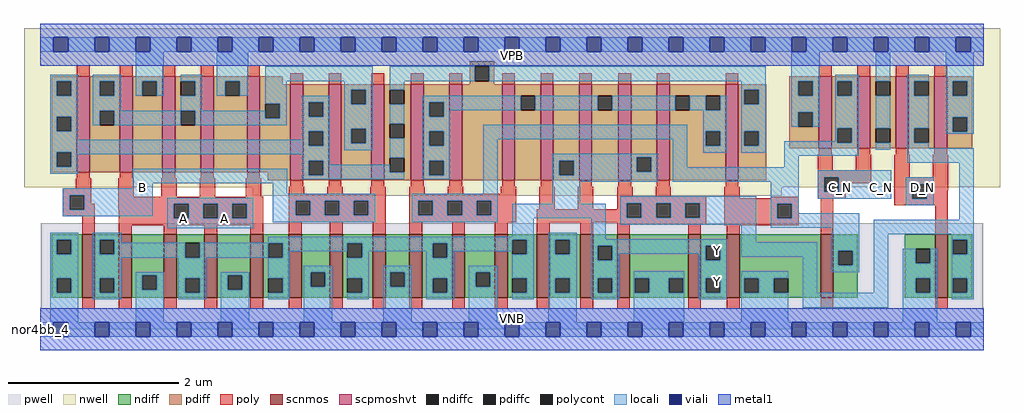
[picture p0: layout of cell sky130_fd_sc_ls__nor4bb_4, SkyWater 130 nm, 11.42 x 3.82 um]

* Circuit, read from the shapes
.subckt sky130_fd_sc_ls__nor4bb_4 A B C_N D_N VGND VNB VPB VPWR Y
XM1 Y B VGND VNB sky130_fd_pr__nfet_01v8 w=0.74 l=0.15 m=4
XM2 VGND A Y VNB sky130_fd_pr__nfet_01v8 w=0.74 l=0.15 m=4
XM3 Y n1 VGND VNB sky130_fd_pr__nfet_01v8 w=0.74 l=0.15 m=4
XM4 VGND n2 Y VNB sky130_fd_pr__nfet_01v8 w=0.74 l=0.15 m=4
XM5 n1 C_N VGND VNB sky130_fd_pr__nfet_01v8 w=0.74 l=0.15
XM6 n2 D_N VGND VNB sky130_fd_pr__nfet_01v8 w=0.74 l=0.15
XM7 n3 B n4 VPB sky130_fd_pr__pfet_01v8_hvt w=1.12 l=0.15 m=4
XM8 VPWR A n3 VPB sky130_fd_pr__pfet_01v8_hvt w=1.12 l=0.15 m=4
XM9 n5 n1 n4 VPB sky130_fd_pr__pfet_01v8_hvt w=1.12 l=0.15 m=4
XM10 Y n2 n5 VPB sky130_fd_pr__pfet_01v8_hvt w=1.12 l=0.15 m=4
XM11 n1 C_N VPWR VPB sky130_fd_pr__pfet_01v8_hvt w=0.84 l=0.15 m=2
XM12 n2 D_N VPWR VPB sky130_fd_pr__pfet_01v8_hvt w=0.84 l=0.15 m=2
.ends

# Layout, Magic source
magic
tech sky130A
magscale 1 2
<< nwell >>
rect -38 332 2246 704
rect 496 313 1735 332
<< pwell >>
rect 1 49 2207 248
rect 0 0 2208 49
<< scnmos >>
rect 98 74 128 222
rect 184 74 214 222
rect 289 74 319 222
rect 384 74 414 222
rect 492 74 522 222
rect 582 74 612 222
rect 678 74 708 222
rect 778 74 808 222
rect 864 74 894 222
rect 964 74 994 222
rect 1064 74 1094 222
rect 1162 74 1192 222
rect 1264 74 1294 222
rect 1350 74 1380 222
rect 1516 74 1546 222
rect 1607 74 1637 222
rect 1826 74 1856 222
rect 2094 74 2124 222
<< scpmoshvt >>
rect 86 368 116 592
rect 186 368 216 592
rect 286 368 316 592
rect 376 368 406 592
rect 484 368 514 592
rect 585 349 615 573
rect 675 349 705 573
rect 775 349 805 573
rect 867 349 897 573
rect 957 349 987 573
rect 1081 349 1111 573
rect 1171 349 1201 573
rect 1261 349 1291 573
rect 1353 349 1383 573
rect 1443 349 1473 573
rect 1604 349 1634 573
rect 1822 424 1852 592
rect 1912 424 1942 592
rect 2002 424 2032 592
rect 2092 424 2122 592
<< ndiff >>
rect 27 210 98 222
rect 27 176 39 210
rect 73 176 98 210
rect 27 120 98 176
rect 27 86 39 120
rect 73 86 98 120
rect 27 74 98 86
rect 128 210 184 222
rect 128 176 139 210
rect 173 176 184 210
rect 128 120 184 176
rect 128 86 139 120
rect 173 86 184 120
rect 128 74 184 86
rect 214 127 289 222
rect 214 93 239 127
rect 273 93 289 127
rect 214 74 289 93
rect 319 202 384 222
rect 319 168 339 202
rect 373 168 384 202
rect 319 120 384 168
rect 319 86 339 120
rect 373 86 384 120
rect 319 74 384 86
rect 414 127 492 222
rect 414 93 439 127
rect 473 93 492 127
rect 414 74 492 93
rect 522 201 582 222
rect 522 167 533 201
rect 567 167 582 201
rect 522 120 582 167
rect 522 86 533 120
rect 567 86 582 120
rect 522 74 582 86
rect 612 133 678 222
rect 612 99 633 133
rect 667 99 678 133
rect 612 74 678 99
rect 708 201 778 222
rect 708 167 719 201
rect 753 167 778 201
rect 708 120 778 167
rect 708 86 719 120
rect 753 86 778 120
rect 708 74 778 86
rect 808 133 864 222
rect 808 99 819 133
rect 853 99 864 133
rect 808 74 864 99
rect 894 201 964 222
rect 894 167 919 201
rect 953 167 964 201
rect 894 120 964 167
rect 894 86 919 120
rect 953 86 964 120
rect 894 74 964 86
rect 994 133 1064 222
rect 994 99 1019 133
rect 1053 99 1064 133
rect 994 74 1064 99
rect 1094 210 1162 222
rect 1094 176 1105 210
rect 1139 176 1162 210
rect 1094 120 1162 176
rect 1094 86 1105 120
rect 1139 86 1162 120
rect 1094 74 1162 86
rect 1192 210 1264 222
rect 1192 176 1205 210
rect 1239 176 1264 210
rect 1192 120 1264 176
rect 1192 86 1205 120
rect 1239 86 1264 120
rect 1192 74 1264 86
rect 1294 195 1350 222
rect 1294 161 1305 195
rect 1339 161 1350 195
rect 1294 120 1350 161
rect 1294 86 1305 120
rect 1339 86 1350 120
rect 1294 74 1350 86
rect 1380 120 1516 222
rect 1380 86 1391 120
rect 1425 86 1471 120
rect 1505 86 1516 120
rect 1380 74 1516 86
rect 1546 195 1607 222
rect 1546 161 1557 195
rect 1591 161 1607 195
rect 1546 120 1607 161
rect 1546 86 1557 120
rect 1591 86 1607 120
rect 1546 74 1607 86
rect 1637 120 1826 222
rect 1637 86 1648 120
rect 1682 86 1716 120
rect 1750 86 1826 120
rect 1637 74 1826 86
rect 1856 184 1913 222
rect 1856 150 1867 184
rect 1901 150 1913 184
rect 1856 74 1913 150
rect 2023 188 2094 222
rect 2023 154 2049 188
rect 2083 154 2094 188
rect 2023 120 2094 154
rect 2023 86 2049 120
rect 2083 86 2094 120
rect 2023 74 2094 86
rect 2124 210 2181 222
rect 2124 176 2135 210
rect 2169 176 2181 210
rect 2124 120 2181 176
rect 2124 86 2135 120
rect 2169 86 2181 120
rect 2124 74 2181 86
<< pdiff >>
rect 1005 615 1063 627
rect 27 580 86 592
rect 27 546 39 580
rect 73 546 86 580
rect 27 497 86 546
rect 27 463 39 497
rect 73 463 86 497
rect 27 414 86 463
rect 27 380 39 414
rect 73 380 86 414
rect 27 368 86 380
rect 116 580 186 592
rect 116 546 139 580
rect 173 546 186 580
rect 116 512 186 546
rect 116 478 139 512
rect 173 478 186 512
rect 116 368 186 478
rect 216 580 286 592
rect 216 546 239 580
rect 273 546 286 580
rect 216 368 286 546
rect 316 580 376 592
rect 316 546 329 580
rect 363 546 376 580
rect 316 512 376 546
rect 316 478 329 512
rect 363 478 376 512
rect 316 368 376 478
rect 406 580 484 592
rect 406 546 433 580
rect 467 546 484 580
rect 406 368 484 546
rect 514 573 567 592
rect 1005 581 1017 615
rect 1051 581 1063 615
rect 1005 573 1063 581
rect 1753 580 1822 592
rect 514 528 585 573
rect 514 494 527 528
rect 561 494 585 528
rect 514 368 585 494
rect 532 349 585 368
rect 615 531 675 573
rect 615 497 628 531
rect 662 497 675 531
rect 615 463 675 497
rect 615 429 628 463
rect 662 429 675 463
rect 615 395 675 429
rect 615 361 628 395
rect 662 361 675 395
rect 615 349 675 361
rect 705 561 775 573
rect 705 527 728 561
rect 762 527 775 561
rect 705 469 775 527
rect 705 435 728 469
rect 762 435 775 469
rect 705 349 775 435
rect 805 561 867 573
rect 805 527 818 561
rect 852 527 867 561
rect 805 481 867 527
rect 805 447 818 481
rect 852 447 867 481
rect 805 401 867 447
rect 805 367 818 401
rect 852 367 867 401
rect 805 349 867 367
rect 897 531 957 573
rect 897 497 910 531
rect 944 497 957 531
rect 897 463 957 497
rect 897 429 910 463
rect 944 429 957 463
rect 897 395 957 429
rect 897 361 910 395
rect 944 361 957 395
rect 897 349 957 361
rect 987 349 1081 573
rect 1111 547 1171 573
rect 1111 513 1124 547
rect 1158 513 1171 547
rect 1111 349 1171 513
rect 1201 395 1261 573
rect 1201 361 1214 395
rect 1248 361 1261 395
rect 1201 349 1261 361
rect 1291 547 1353 573
rect 1291 513 1305 547
rect 1339 513 1353 547
rect 1291 349 1353 513
rect 1383 403 1443 573
rect 1383 369 1396 403
rect 1430 369 1443 403
rect 1383 349 1443 369
rect 1473 547 1604 573
rect 1473 513 1486 547
rect 1520 513 1557 547
rect 1591 513 1604 547
rect 1473 463 1604 513
rect 1473 429 1557 463
rect 1591 429 1604 463
rect 1473 349 1604 429
rect 1634 561 1699 573
rect 1634 527 1648 561
rect 1682 527 1699 561
rect 1634 463 1699 527
rect 1634 429 1648 463
rect 1682 429 1699 463
rect 1634 349 1699 429
rect 1753 546 1774 580
rect 1808 546 1822 580
rect 1753 508 1822 546
rect 1753 474 1774 508
rect 1808 474 1822 508
rect 1753 424 1822 474
rect 1852 580 1912 592
rect 1852 546 1865 580
rect 1899 546 1912 580
rect 1852 470 1912 546
rect 1852 436 1865 470
rect 1899 436 1912 470
rect 1852 424 1912 436
rect 1942 580 2002 592
rect 1942 546 1955 580
rect 1989 546 2002 580
rect 1942 470 2002 546
rect 1942 436 1955 470
rect 1989 436 2002 470
rect 1942 424 2002 436
rect 2032 580 2092 592
rect 2032 546 2045 580
rect 2079 546 2092 580
rect 2032 470 2092 546
rect 2032 436 2045 470
rect 2079 436 2092 470
rect 2032 424 2092 436
rect 2122 580 2181 592
rect 2122 546 2135 580
rect 2169 546 2181 580
rect 2122 496 2181 546
rect 2122 462 2135 496
rect 2169 462 2181 496
rect 2122 424 2181 462
<< ndiffc >>
rect 39 176 73 210
rect 39 86 73 120
rect 139 176 173 210
rect 139 86 173 120
rect 239 93 273 127
rect 339 168 373 202
rect 339 86 373 120
rect 439 93 473 127
rect 533 167 567 201
rect 533 86 567 120
rect 633 99 667 133
rect 719 167 753 201
rect 719 86 753 120
rect 819 99 853 133
rect 919 167 953 201
rect 919 86 953 120
rect 1019 99 1053 133
rect 1105 176 1139 210
rect 1105 86 1139 120
rect 1205 176 1239 210
rect 1205 86 1239 120
rect 1305 161 1339 195
rect 1305 86 1339 120
rect 1391 86 1425 120
rect 1471 86 1505 120
rect 1557 161 1591 195
rect 1557 86 1591 120
rect 1648 86 1682 120
rect 1716 86 1750 120
rect 1867 150 1901 184
rect 2049 154 2083 188
rect 2049 86 2083 120
rect 2135 176 2169 210
rect 2135 86 2169 120
<< pdiffc >>
rect 39 546 73 580
rect 39 463 73 497
rect 39 380 73 414
rect 139 546 173 580
rect 139 478 173 512
rect 239 546 273 580
rect 329 546 363 580
rect 329 478 363 512
rect 433 546 467 580
rect 1017 581 1051 615
rect 527 494 561 528
rect 628 497 662 531
rect 628 429 662 463
rect 628 361 662 395
rect 728 527 762 561
rect 728 435 762 469
rect 818 527 852 561
rect 818 447 852 481
rect 818 367 852 401
rect 910 497 944 531
rect 910 429 944 463
rect 910 361 944 395
rect 1124 513 1158 547
rect 1214 361 1248 395
rect 1305 513 1339 547
rect 1396 369 1430 403
rect 1486 513 1520 547
rect 1557 513 1591 547
rect 1557 429 1591 463
rect 1648 527 1682 561
rect 1648 429 1682 463
rect 1774 546 1808 580
rect 1774 474 1808 508
rect 1865 546 1899 580
rect 1865 436 1899 470
rect 1955 546 1989 580
rect 1955 436 1989 470
rect 2045 546 2079 580
rect 2045 436 2079 470
rect 2135 546 2169 580
rect 2135 462 2169 496
<< poly >>
rect 86 592 116 618
rect 186 592 216 618
rect 286 592 316 618
rect 376 592 406 618
rect 484 592 514 618
rect 585 573 615 599
rect 675 573 705 599
rect 775 573 805 599
rect 867 573 897 599
rect 957 573 987 599
rect 1081 573 1111 599
rect 1171 573 1201 599
rect 1261 573 1291 599
rect 1353 573 1383 599
rect 1443 573 1473 599
rect 1604 573 1634 599
rect 1822 592 1852 618
rect 1912 592 1942 618
rect 2002 592 2032 618
rect 2092 592 2122 618
rect 86 353 116 368
rect 186 353 216 368
rect 286 353 316 368
rect 376 353 406 368
rect 484 353 514 368
rect 83 330 119 353
rect 53 314 119 330
rect 53 280 69 314
rect 103 294 119 314
rect 183 310 219 353
rect 283 310 319 353
rect 373 310 409 353
rect 481 310 517 353
rect 1822 409 1852 424
rect 1912 409 1942 424
rect 2002 409 2032 424
rect 2092 409 2122 424
rect 1819 372 1855 409
rect 1909 372 1945 409
rect 1819 356 1945 372
rect 585 334 615 349
rect 675 334 705 349
rect 775 334 805 349
rect 867 334 897 349
rect 957 334 987 349
rect 1081 334 1111 349
rect 1171 334 1201 349
rect 1261 334 1291 349
rect 1353 334 1383 349
rect 1443 334 1473 349
rect 1604 334 1634 349
rect 582 317 618 334
rect 672 317 708 334
rect 772 317 808 334
rect 183 294 522 310
rect 103 280 128 294
rect 183 280 313 294
rect 53 264 128 280
rect 98 222 128 264
rect 184 260 313 280
rect 347 260 381 294
rect 415 260 449 294
rect 483 260 522 294
rect 184 244 522 260
rect 184 222 214 244
rect 289 222 319 244
rect 384 222 414 244
rect 492 222 522 244
rect 582 301 808 317
rect 582 267 598 301
rect 632 267 666 301
rect 700 267 734 301
rect 768 267 808 301
rect 582 251 808 267
rect 582 222 612 251
rect 678 222 708 251
rect 778 222 808 251
rect 864 317 900 334
rect 954 317 990 334
rect 1078 317 1114 334
rect 864 301 1114 317
rect 864 267 885 301
rect 919 267 953 301
rect 987 267 1021 301
rect 1055 267 1114 301
rect 1168 281 1204 334
rect 1258 281 1294 334
rect 1350 311 1386 334
rect 1440 311 1476 334
rect 1350 295 1559 311
rect 1350 281 1373 295
rect 864 251 1114 267
rect 1162 261 1373 281
rect 1407 261 1441 295
rect 1475 261 1509 295
rect 1543 261 1559 295
rect 1162 251 1559 261
rect 864 222 894 251
rect 964 222 994 251
rect 1064 222 1094 251
rect 1162 222 1192 251
rect 1264 222 1294 251
rect 1350 245 1559 251
rect 1601 307 1637 334
rect 1819 322 1835 356
rect 1869 342 1945 356
rect 1999 356 2035 409
rect 2089 356 2125 409
rect 1869 322 1885 342
rect 1709 307 1775 310
rect 1601 294 1775 307
rect 1819 306 1885 322
rect 1999 340 2125 356
rect 1999 306 2041 340
rect 2075 326 2125 340
rect 2075 306 2124 326
rect 1601 260 1725 294
rect 1759 260 1775 294
rect 1350 222 1380 245
rect 1516 222 1546 245
rect 1601 244 1775 260
rect 1607 222 1637 244
rect 1826 222 1856 306
rect 1999 290 2124 306
rect 2094 222 2124 290
rect 98 48 128 74
rect 184 48 214 74
rect 289 48 319 74
rect 384 48 414 74
rect 492 48 522 74
rect 582 48 612 74
rect 678 48 708 74
rect 778 48 808 74
rect 864 48 894 74
rect 964 48 994 74
rect 1064 48 1094 74
rect 1162 48 1192 74
rect 1264 48 1294 74
rect 1350 48 1380 74
rect 1516 48 1546 74
rect 1607 48 1637 74
rect 1826 48 1856 74
rect 2094 48 2124 74
<< polycont >>
rect 69 280 103 314
rect 313 260 347 294
rect 381 260 415 294
rect 449 260 483 294
rect 598 267 632 301
rect 666 267 700 301
rect 734 267 768 301
rect 885 267 919 301
rect 953 267 987 301
rect 1021 267 1055 301
rect 1373 261 1407 295
rect 1441 261 1475 295
rect 1509 261 1543 295
rect 1835 322 1869 356
rect 2041 306 2075 340
rect 1725 260 1759 294
<< locali >>
rect 0 649 31 683
rect 65 649 127 683
rect 161 649 223 683
rect 257 649 319 683
rect 353 649 415 683
rect 449 649 511 683
rect 545 649 607 683
rect 641 649 703 683
rect 737 649 799 683
rect 833 649 895 683
rect 929 649 991 683
rect 1025 649 1087 683
rect 1121 649 1183 683
rect 1217 649 1279 683
rect 1313 649 1375 683
rect 1409 649 1471 683
rect 1505 649 1567 683
rect 1601 649 1663 683
rect 1697 649 1759 683
rect 1793 649 1855 683
rect 1889 649 1951 683
rect 1985 649 2047 683
rect 2081 649 2143 683
rect 2177 649 2208 683
rect 23 580 89 596
rect 23 546 39 580
rect 73 546 89 580
rect 23 497 89 546
rect 23 463 39 497
rect 73 463 89 497
rect 123 580 189 596
rect 123 546 139 580
rect 173 546 189 580
rect 223 580 289 649
rect 223 546 239 580
rect 273 546 289 580
rect 329 580 379 596
rect 363 546 379 580
rect 413 580 487 649
rect 413 546 433 580
rect 467 546 487 580
rect 527 581 778 615
rect 123 512 189 546
rect 329 512 379 546
rect 527 528 577 581
rect 712 561 778 581
rect 123 478 139 512
rect 173 478 329 512
rect 363 494 527 512
rect 561 494 577 528
rect 363 478 577 494
rect 612 531 678 547
rect 612 497 628 531
rect 662 497 678 531
rect 23 444 89 463
rect 612 463 678 497
rect 612 444 628 463
rect 23 429 628 444
rect 662 429 678 463
rect 23 414 678 429
rect 712 527 728 561
rect 762 527 778 561
rect 712 469 778 527
rect 712 435 728 469
rect 762 435 778 469
rect 712 419 778 435
rect 818 581 1017 615
rect 1051 581 1698 615
rect 818 561 852 581
rect 1641 561 1698 581
rect 818 481 852 527
rect 23 380 39 414
rect 73 410 678 414
rect 73 380 89 410
rect 23 364 89 380
rect 612 395 678 410
rect 217 342 578 376
rect 612 361 628 395
rect 662 385 678 395
rect 818 401 852 447
rect 662 367 818 385
rect 662 361 852 367
rect 612 351 852 361
rect 894 531 1124 547
rect 894 497 910 531
rect 944 513 1124 531
rect 1158 513 1305 547
rect 1339 513 1486 547
rect 1520 513 1557 547
rect 1591 513 1607 547
rect 944 497 960 513
rect 894 463 960 497
rect 894 429 910 463
rect 944 429 960 463
rect 894 395 960 429
rect 894 361 910 395
rect 944 361 960 395
rect 894 351 960 361
rect 1037 445 1514 479
rect 217 330 263 342
rect 53 314 263 330
rect 53 280 69 314
rect 103 280 263 314
rect 544 317 578 342
rect 1037 317 1071 445
rect 53 264 263 280
rect 297 294 499 308
rect 297 260 313 294
rect 347 260 381 294
rect 415 260 449 294
rect 483 260 499 294
rect 297 236 499 260
rect 544 301 784 317
rect 544 267 598 301
rect 632 267 666 301
rect 700 267 734 301
rect 768 267 784 301
rect 544 251 784 267
rect 869 301 1071 317
rect 869 267 885 301
rect 919 267 953 301
rect 987 267 1021 301
rect 1055 267 1071 301
rect 1198 403 1446 411
rect 1198 395 1396 403
rect 1198 361 1214 395
rect 1248 369 1396 395
rect 1430 369 1446 403
rect 1248 361 1446 369
rect 1198 345 1446 361
rect 1480 379 1514 445
rect 1552 463 1607 513
rect 1552 429 1557 463
rect 1591 429 1607 463
rect 1552 413 1607 429
rect 1641 527 1648 561
rect 1682 527 1698 561
rect 1641 463 1698 527
rect 1758 580 1824 649
rect 1758 546 1774 580
rect 1808 546 1824 580
rect 1758 508 1824 546
rect 1758 474 1774 508
rect 1808 474 1824 508
rect 1860 580 1915 596
rect 1860 546 1865 580
rect 1899 546 1915 580
rect 1641 429 1648 463
rect 1682 429 1698 463
rect 1860 470 1915 546
rect 1860 440 1865 470
rect 1641 413 1698 429
rect 1741 436 1865 440
rect 1899 436 1915 470
rect 1741 406 1915 436
rect 1955 580 1989 649
rect 1955 470 1989 546
rect 1955 420 1989 436
rect 2029 580 2079 596
rect 2029 546 2045 580
rect 2029 470 2079 546
rect 2029 436 2045 470
rect 2119 580 2185 649
rect 2119 546 2135 580
rect 2169 546 2185 580
rect 2119 496 2185 546
rect 2119 462 2135 496
rect 2169 462 2185 496
rect 2119 458 2185 462
rect 2029 424 2079 436
rect 1741 379 1775 406
rect 2029 390 2185 424
rect 1480 345 1775 379
rect 1198 294 1264 345
rect 1357 295 1675 311
rect 869 251 1071 267
rect 1105 260 1323 294
rect 23 210 89 226
rect 23 176 39 210
rect 73 176 89 210
rect 23 120 89 176
rect 23 86 39 120
rect 73 86 89 120
rect 23 17 89 86
rect 123 210 189 226
rect 1105 217 1155 260
rect 123 176 139 210
rect 173 202 189 210
rect 533 210 1155 217
rect 533 202 1105 210
rect 173 176 339 202
rect 123 168 339 176
rect 373 201 1105 202
rect 373 168 533 201
rect 123 120 189 168
rect 123 86 139 120
rect 173 86 189 120
rect 123 70 189 86
rect 223 127 289 134
rect 223 93 239 127
rect 273 93 289 127
rect 223 17 289 93
rect 323 120 389 168
rect 567 183 719 201
rect 567 167 583 183
rect 323 86 339 120
rect 373 86 389 120
rect 323 70 389 86
rect 423 127 489 134
rect 423 93 439 127
rect 473 93 489 127
rect 423 17 489 93
rect 533 120 583 167
rect 753 183 919 201
rect 753 167 769 183
rect 567 86 583 120
rect 533 70 583 86
rect 617 133 683 149
rect 617 99 633 133
rect 667 99 683 133
rect 617 17 683 99
rect 719 120 769 167
rect 903 167 919 183
rect 953 183 1105 201
rect 953 167 969 183
rect 753 86 769 120
rect 719 70 769 86
rect 803 133 869 149
rect 803 99 819 133
rect 853 99 869 133
rect 803 17 869 99
rect 903 120 969 167
rect 1139 176 1155 210
rect 903 86 919 120
rect 953 86 969 120
rect 903 70 969 86
rect 1003 133 1069 149
rect 1003 99 1019 133
rect 1053 99 1069 133
rect 1003 17 1069 99
rect 1105 120 1155 176
rect 1139 86 1155 120
rect 1105 70 1155 86
rect 1189 210 1255 226
rect 1189 176 1205 210
rect 1239 176 1255 210
rect 1189 120 1255 176
rect 1189 86 1205 120
rect 1239 86 1255 120
rect 1189 17 1255 86
rect 1289 211 1323 260
rect 1357 261 1373 295
rect 1407 261 1441 295
rect 1475 261 1509 295
rect 1543 261 1675 295
rect 1357 245 1675 261
rect 1289 195 1607 211
rect 1289 161 1305 195
rect 1339 177 1557 195
rect 1339 161 1355 177
rect 1289 120 1355 161
rect 1541 161 1557 177
rect 1591 161 1607 195
rect 1641 204 1675 245
rect 1709 294 1775 345
rect 1819 356 1991 372
rect 1819 322 1835 356
rect 1869 322 1991 356
rect 1819 306 1991 322
rect 2025 340 2091 356
rect 2025 306 2041 340
rect 2075 306 2091 340
rect 1709 260 1725 294
rect 1759 272 1775 294
rect 2025 290 2091 306
rect 1759 260 1917 272
rect 1709 238 1917 260
rect 2151 256 2185 390
rect 1641 170 1818 204
rect 1289 86 1305 120
rect 1339 86 1355 120
rect 1289 70 1355 86
rect 1389 120 1507 136
rect 1389 86 1391 120
rect 1425 86 1471 120
rect 1505 86 1507 120
rect 1389 17 1507 86
rect 1541 120 1607 161
rect 1541 86 1557 120
rect 1591 86 1607 120
rect 1541 70 1607 86
rect 1641 120 1750 136
rect 1641 86 1648 120
rect 1682 86 1716 120
rect 1641 17 1750 86
rect 1784 85 1818 170
rect 1852 184 1917 238
rect 1852 150 1867 184
rect 1901 150 1917 184
rect 1852 134 1917 150
rect 1951 222 2185 256
rect 1951 85 1985 222
rect 2133 210 2185 222
rect 1784 51 1985 85
rect 2019 154 2049 188
rect 2083 154 2099 188
rect 2019 120 2099 154
rect 2019 86 2049 120
rect 2083 86 2099 120
rect 2019 17 2099 86
rect 2133 176 2135 210
rect 2169 176 2185 210
rect 2133 120 2185 176
rect 2133 86 2135 120
rect 2169 86 2185 120
rect 2133 70 2185 86
rect 0 -17 31 17
rect 65 -17 127 17
rect 161 -17 223 17
rect 257 -17 319 17
rect 353 -17 415 17
rect 449 -17 511 17
rect 545 -17 607 17
rect 641 -17 703 17
rect 737 -17 799 17
rect 833 -17 895 17
rect 929 -17 991 17
rect 1025 -17 1087 17
rect 1121 -17 1183 17
rect 1217 -17 1279 17
rect 1313 -17 1375 17
rect 1409 -17 1471 17
rect 1505 -17 1567 17
rect 1601 -17 1663 17
rect 1697 -17 1759 17
rect 1793 -17 1855 17
rect 1889 -17 1951 17
rect 1985 -17 2047 17
rect 2081 -17 2143 17
rect 2177 -17 2208 17
<< viali >>
rect 31 649 65 683
rect 127 649 161 683
rect 223 649 257 683
rect 319 649 353 683
rect 415 649 449 683
rect 511 649 545 683
rect 607 649 641 683
rect 703 649 737 683
rect 799 649 833 683
rect 895 649 929 683
rect 991 649 1025 683
rect 1087 649 1121 683
rect 1183 649 1217 683
rect 1279 649 1313 683
rect 1375 649 1409 683
rect 1471 649 1505 683
rect 1567 649 1601 683
rect 1663 649 1697 683
rect 1759 649 1793 683
rect 1855 649 1889 683
rect 1951 649 1985 683
rect 2047 649 2081 683
rect 2143 649 2177 683
rect 31 -17 65 17
rect 127 -17 161 17
rect 223 -17 257 17
rect 319 -17 353 17
rect 415 -17 449 17
rect 511 -17 545 17
rect 607 -17 641 17
rect 703 -17 737 17
rect 799 -17 833 17
rect 895 -17 929 17
rect 991 -17 1025 17
rect 1087 -17 1121 17
rect 1183 -17 1217 17
rect 1279 -17 1313 17
rect 1375 -17 1409 17
rect 1471 -17 1505 17
rect 1567 -17 1601 17
rect 1663 -17 1697 17
rect 1759 -17 1793 17
rect 1855 -17 1889 17
rect 1951 -17 1985 17
rect 2047 -17 2081 17
rect 2143 -17 2177 17
<< metal1 >>
rect 0 683 2208 715
rect 0 649 31 683
rect 65 649 127 683
rect 161 649 223 683
rect 257 649 319 683
rect 353 649 415 683
rect 449 649 511 683
rect 545 649 607 683
rect 641 649 703 683
rect 737 649 799 683
rect 833 649 895 683
rect 929 649 991 683
rect 1025 649 1087 683
rect 1121 649 1183 683
rect 1217 649 1279 683
rect 1313 649 1375 683
rect 1409 649 1471 683
rect 1505 649 1567 683
rect 1601 649 1663 683
rect 1697 649 1759 683
rect 1793 649 1855 683
rect 1889 649 1951 683
rect 1985 649 2047 683
rect 2081 649 2143 683
rect 2177 649 2208 683
rect 0 617 2208 649
rect 0 17 2208 49
rect 0 -17 31 17
rect 65 -17 127 17
rect 161 -17 223 17
rect 257 -17 319 17
rect 353 -17 415 17
rect 449 -17 511 17
rect 545 -17 607 17
rect 641 -17 703 17
rect 737 -17 799 17
rect 833 -17 895 17
rect 929 -17 991 17
rect 1025 -17 1087 17
rect 1121 -17 1183 17
rect 1217 -17 1279 17
rect 1313 -17 1375 17
rect 1409 -17 1471 17
rect 1505 -17 1567 17
rect 1601 -17 1663 17
rect 1697 -17 1759 17
rect 1793 -17 1855 17
rect 1889 -17 1951 17
rect 1985 -17 2047 17
rect 2081 -17 2143 17
rect 2177 -17 2208 17
rect 0 -49 2208 -17
<< labels >>
rlabel comment s 0 0 0 0 4 nor4bb_4
flabel pwell s 0 0 2208 49 0 FreeSans 200 0 0 0 VNB
port 6 nsew ground bidirectional
flabel nwell s 0 617 2208 666 0 FreeSans 200 0 0 0 VPB
port 7 nsew power bidirectional
flabel metal1 s 0 617 2208 666 0 FreeSans 340 0 0 0 VPWR
port 8 nsew power bidirectional abutment
flabel metal1 s 0 0 2208 49 0 FreeSans 340 0 0 0 VGND
port 5 nsew ground bidirectional abutment
flabel locali s 319 242 353 276 0 FreeSans 340 0 0 0 A
port 1 nsew signal input
flabel locali s 415 242 449 276 0 FreeSans 340 0 0 0 A
port 1 nsew signal input
flabel locali s 223 316 257 350 0 FreeSans 340 0 0 0 B
port 2 nsew signal input
flabel locali s 1567 94 1601 128 0 FreeSans 340 0 0 0 Y
port 9 nsew signal output
flabel locali s 1567 168 1601 202 0 FreeSans 340 0 0 0 Y
port 9 nsew signal output
flabel locali s 1855 316 1889 350 0 FreeSans 340 0 0 0 C_N
port 3 nsew signal input
flabel locali s 1951 316 1985 350 0 FreeSans 340 0 0 0 C_N
port 3 nsew signal input
flabel locali s 2047 316 2081 350 0 FreeSans 340 0 0 0 D_N
port 4 nsew signal input
<< properties >>
string LEFsite unit
string LEFclass CORE
string FIXED_BBOX 0 0 2208 666
string GDS_FILE $PDKPATH/libs.ref/sky130_fd_sc_ls/gds/sky130_fd_sc_ls.gds
string LEFsymmetry X Y
string GDS_END 1805614
string GDS_START 1789578
<< end >>
